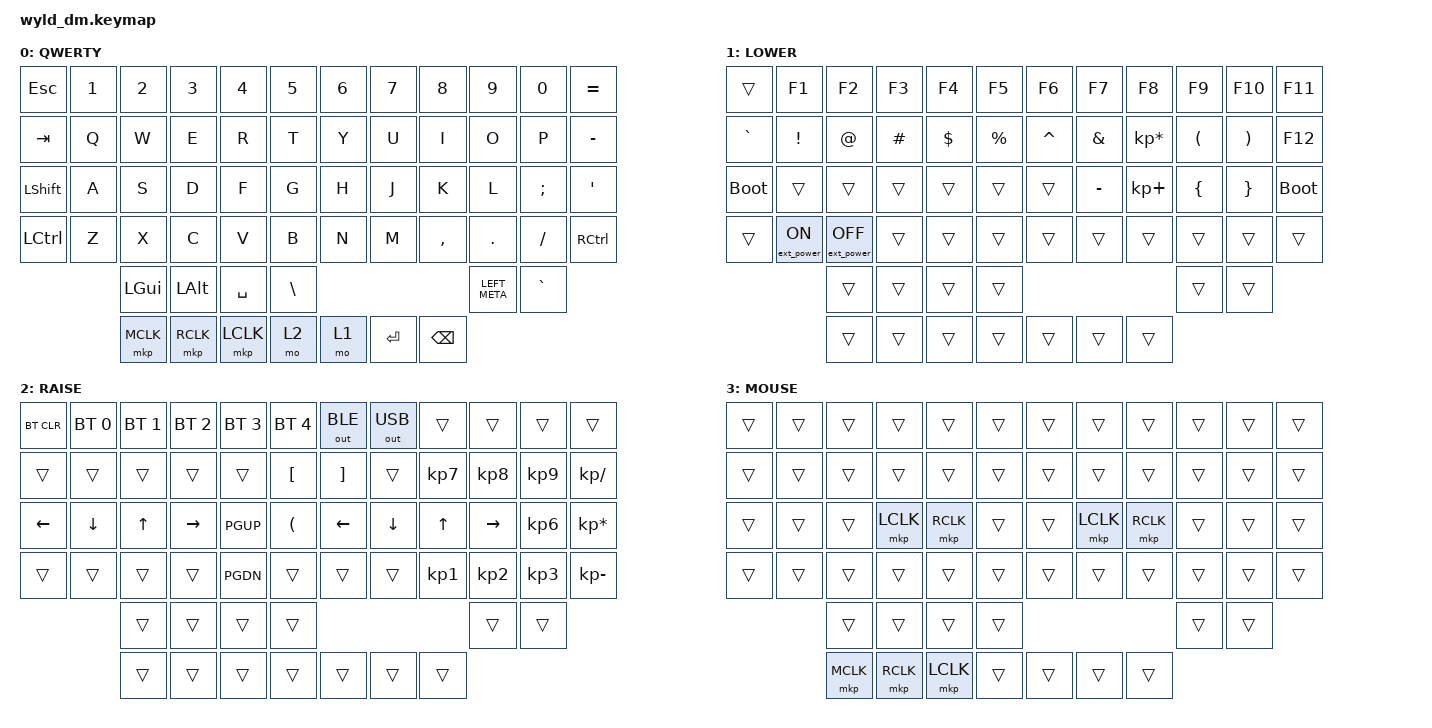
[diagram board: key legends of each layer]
/*
 * Copyright (c) 2020 The ZMK Contributors
 *
 * SPDX-License-Identifier: MIT
 */
//#include <dt-bindings/led/led.h>
//#include <dt-bindings/zmk/rgb.h>

#include <behaviors/mouse_keys.dtsi>
#include <behaviors.dtsi>
#include <dt-bindings/zmk/bt.h>
#include <dt-bindings/zmk/ext_power.h>
#include <dt-bindings/zmk/keys.h>
#include <dt-bindings/zmk/mouse.h>
#include <dt-bindings/zmk/outputs.h>

// triggering build

#define QWERTY 0
#define LOWER 1
#define RAISE 2

//# 4x6 with encoders

/ {
    //    behaviors {
    //        rgb_encoder_bright: rgb_encoder_bright {
    //            compatible = "zmk,behavior-sensor-rotate";
    //            #sensor-binding-cells = <0>;
    //            bindings = <&rgb_ug RGB_BRI>, <&rgb_ug RGB_BRD>;
    //        };
    //
    //        rgb_encoder_hue: rgb_encoder_hue {
    //            compatible = "zmk,behavior-sensor-rotate";
    //            #sensor-binding-cells = <0>;
    //            bindings = <&rgb_ug RGB_HUI>, <&rgb_ug RGB_HUD>;
    //        };
    //    };

    keymap {
        compatible = "zmk,keymap";

        default_layer {
            display-name = "QWERTY";
            bindings = <
&kp ESC         &kp N1  &kp N2        &kp N3        &kp N4     &kp N5                &kp N6     &kp N7         &kp N8     &kp N9         &kp N0     &kp EQUAL
&kp TAB         &kp Q   &kp W         &kp E         &kp R      &kp T                 &kp Y      &kp U          &kp I      &kp O          &kp P      &kp MINUS
&kp LEFT_SHIFT  &kp A   &kp S         &kp D         &kp F      &kp G                 &kp H      &kp J          &kp K      &kp L          &kp SEMI   &kp SQT
&kp LCTRL       &kp Z   &kp X         &kp C         &kp V      &kp B                 &kp N      &kp M          &kp COMMA  &kp DOT        &kp FSLH   &kp RIGHT_CONTROL
                        &kp LEFT_GUI  &kp LEFT_ALT  &kp SPACE  &kp BACKSLASH                                              &kp LEFT_META  &kp GRAVE
                        &mkp MCLK     &mkp RCLK     &mkp LCLK  &mo 2          &mo 1  &kp ENTER  &kp BACKSPACE
            >;

            //            sensor-bindings = <&inc_dec_kp C_VOL_DN C_VOL_UP>, <&inc_dec_kp PG_UP PG_DN>;
        };

        lower_layer {
            display-name = "LOWER";
            bindings = <
&trans       &kp F1            &kp F2             &kp F3    &kp F4      &kp F5             &kp F6     &kp F7     &kp F8           &kp F9    &kp F10   &kp F11
&kp GRAVE    &kp EXCL          &kp AT             &kp HASH  &kp DOLLAR  &kp PRCNT          &kp CARET  &kp AMPS   &kp KP_MULTIPLY  &kp LPAR  &kp RPAR  &kp F12
&bootloader  &trans            &trans             &trans    &trans      &trans             &trans     &kp MINUS  &kp KP_PLUS      &kp LBRC  &kp RBRC  &bootloader
&trans       &ext_power EP_ON  &ext_power EP_OFF  &trans    &trans      &trans             &trans     &trans     &trans           &trans    &trans    &trans
                               &trans             &trans    &trans      &trans                                                    &trans    &trans
                               &trans             &trans    &trans      &trans     &trans  &trans     &trans
            >;

            //			sensor-bindings = <&rgb_encoder_bright>, <&rgb_encoder_hue>;
        };

        raise_layer {
            display-name = "RAISE";
            bindings = <
&bt BT_CLR  &bt BT_SEL 0  &bt BT_SEL 1  &bt BT_SEL 2  &bt BT_SEL 3  &bt BT_SEL 4          &out OUT_BLE  &out OUT_USB  &trans        &trans     &trans     &trans
&trans      &trans        &trans        &trans        &trans        &kp LBKT              &kp RBKT      &trans        &kp KP_N7     &kp KP_N8  &kp KP_N9  &kp KP_DIVIDE
&kp LEFT    &kp DOWN      &kp UP        &kp RIGHT     &kp PGUP      &kp LPAR              &kp LEFT      &kp DOWN      &kp UP_ARROW  &kp RIGHT  &kp KP_N6  &kp KP_MULTIPLY
&trans      &trans        &trans        &trans        &kp PGDN      &trans                &trans        &trans        &kp KP_N1     &kp KP_N2  &kp KP_N3  &kp KP_MINUS
                          &trans        &trans        &trans        &trans                                                          &trans     &trans
                          &trans        &trans        &trans        &trans        &trans  &trans        &trans
            >;

            //            sensor-bindings = <&inc_dec_kp C_VOL_DN C_VOL_UP>, <&inc_dec_kp PG_UP PG_DN>;
        };

        mouse_layer {
            display-name = "MOUSE";
            bindings = <
&trans  &trans  &trans     &trans     &trans     &trans          &trans  &trans     &trans     &trans  &trans  &trans
&trans  &trans  &trans     &trans     &trans     &trans          &trans  &trans     &trans     &trans  &trans  &trans
&trans  &trans  &trans     &mkp LCLK  &mkp RCLK  &trans          &trans  &mkp LCLK  &mkp RCLK  &trans  &trans  &trans
&trans  &trans  &trans     &trans     &trans     &trans          &trans  &trans     &trans     &trans  &trans  &trans
                &trans     &trans     &trans     &trans                                        &trans  &trans
                &mkp MCLK  &mkp RCLK  &mkp LCLK  &trans  &trans  &trans  &trans
            >;

            //            sensor-bindings = <&inc_dec_kp C_VOL_DN C_VOL_UP>, <&inc_dec_kp PG_UP PG_DN>;
        };
    };
};
